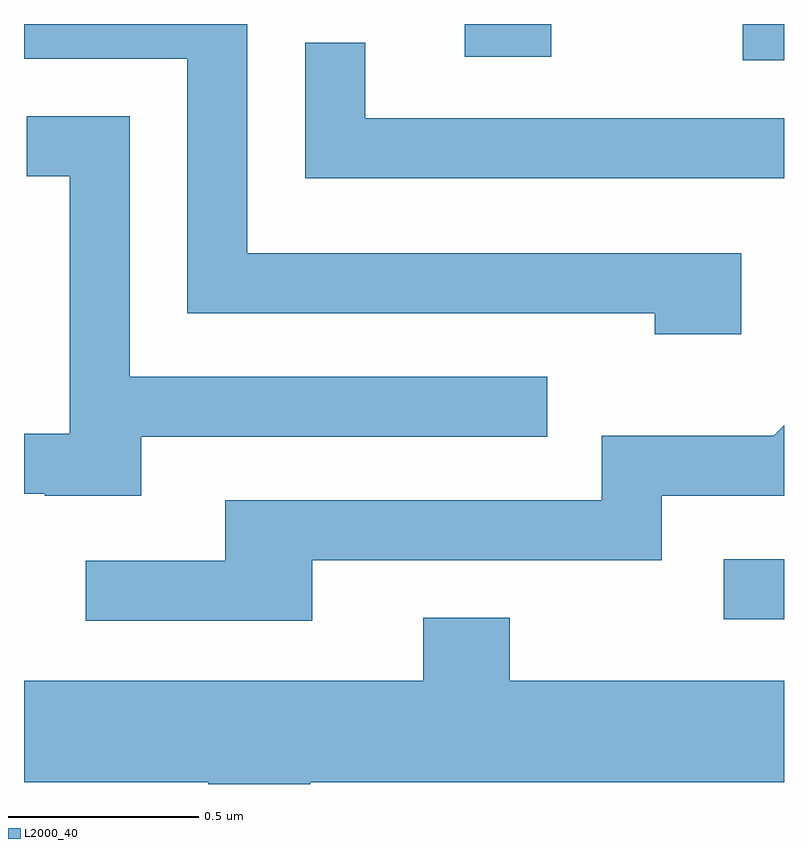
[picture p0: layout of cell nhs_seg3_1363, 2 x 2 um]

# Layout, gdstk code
import gdstk
lib = gdstk.Library(unit=1e-6, precision=1e-09)
def R(c, l, rs):  # rectangles x0, y0, x1, y1
    for r in rs: c.add(gdstk.rectangle(r[:2], r[2:], *l))
def P(c, l, *ps):  # polygons
    for p in ps: c.add(gdstk.Polygon(p, *l))
L2000_40 = (2000, 40)

nhs_seg3_1363 = lib.new_cell('nhs_seg3_1363')
R(nhs_seg3_1363, L2000_40, [(196.453,1246.326,196.611,1246.484), (196.503,1247.796,196.611,1247.892), (195.771,1247.806,195.999,1247.892)])
P(nhs_seg3_1363, L2000_40, [(196.499,1247.289),(195.199,1247.289),(195.199,1247.892),(194.611,1247.892),(194.611,1247.801),(195.041,1247.801),(195.041,1247.131),(196.271,1247.131),(196.271,1247.076),(196.499,1247.076)],
  [(196.611,1247.644),(195.509,1247.644),(195.509,1247.843),(195.351,1247.843),(195.351,1247.486),(196.611,1247.486)],
  [(194.919,1246.806),(195.988,1246.806),(195.988,1246.964),(194.889,1246.964),(194.889,1247.649),(194.618,1247.649),(194.618,1247.491),(194.731,1247.491),(194.731,1246.814),(194.611,1246.814),(194.611,1246.656),(194.665,1246.656),(194.665,1246.651),(194.919,1246.651)],
  [(195.369,1246.481),(196.289,1246.481),(196.289,1246.651),(196.611,1246.651),(196.611,1246.836),(196.584,1246.809),(196.131,1246.809),(196.131,1246.639),(195.141,1246.639),(195.141,1246.479),(194.773,1246.479),(194.773,1246.321),(195.369,1246.321)],
  [(195.364,1245.896),(196.611,1245.896),(196.611,1246.164),(195.889,1246.164),(195.889,1246.329),(195.661,1246.329),(195.661,1246.164),(194.611,1246.164),(194.611,1245.896),(195.096,1245.896),(195.096,1245.892),(195.364,1245.892)])

lib.write_gds('nhs_seg3_1363.gds')
